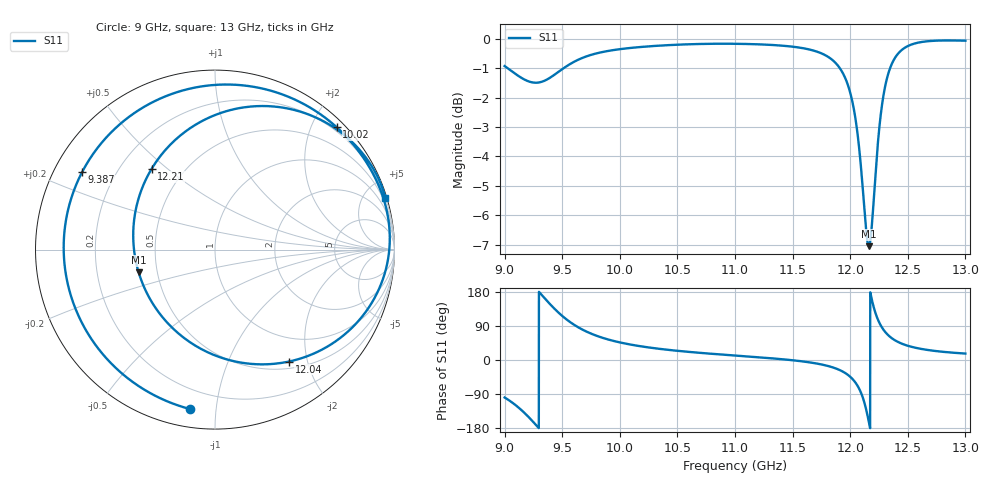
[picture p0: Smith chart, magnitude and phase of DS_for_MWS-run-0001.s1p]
! TOUCHSTONE file generated by CST DESIGN STUDIO
! Date and time: Tue Feb  4 17:47:10 2025
! Project name: C:\Work\MatlabApps\UnitCellOptimizationMatlab\CST\unitcell.cst
! Tree item: Tasks\Sweep1\SPara1\S-Parameters
! Header version: 2024
! Port assignment regex: !\s*Touchstone port\s*([0-9]+)\s*=\s*(CST MWS port|CST DES external port|CST DES block port)\s*(.+)\s* \(\"(.*)\"\)(\s*mode\s*([0-9]+))?.*
! Touchstone port assignment:
! Touchstone port 1 = CST DES external port 1 ("")
# GHz S MA R 50
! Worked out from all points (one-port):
!   4001 points, 9 GHz to 13 GHz, reference 50 ohm
!   lowest |S11| = -7.1 dB at 12.16 GHz (marker M1), VSWR 2.60, Z = 19.6 - j6.13 ohm
!   |S11| at or under -10 dB: nowhere
!   S11 on the Smith chart (normalised r, x): 9 GHz: 0.09, -0.85; 9.387 GHz: 0.08, +0.27; 10.02 GHz: 0.13, +2.40; 12.04 GHz: 0.60, -1.70; 12.21 GHz: 0.33, +0.44; 13 GHz: 0.16, +6.69
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9  0.8992 -98.9
9.124  0.8638 -126.3
9.24  0.8433 -160.6
9.313  0.8443 174.7
9.387  0.8572 149.7
9.5  0.8881 116.4
9.601  0.9138 93.4
9.734  0.9372 71.8
10  0.9606 46.4
10.02  0.9617 45.1
10.5  0.9775 24.3
11  0.9811 11.8
11.5  0.97 -0.7
11.837  0.9237 -18.4
11.93  0.8789 -29.7
12  0.8102 -44.2
12.038  0.7474 -56.6
12.105  0.5691 -95.2
12.132  0.4876 -122.5
12.162  0.4439 -163.6
12.188  0.4813 159.1
12.215  0.572 128.1
12.254  0.7098 97.7
12.3  0.8242 75.4
12.385  0.9258 52.7
12.5  0.9723 37.6
12.687  0.9915 25.8
13  0.993 17.0
